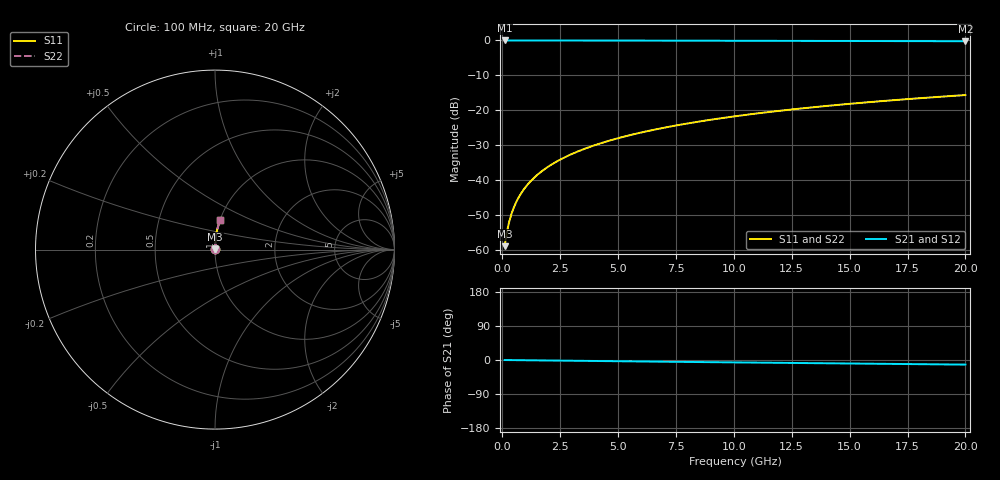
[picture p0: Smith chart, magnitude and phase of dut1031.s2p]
! Touchstone file exported from HFSS 2024.1.0
!  File:  C:/UserFiles/LocalFiles/RDL_TSV_Batchsim/temp_RDL_bottom_1031_1780051146.aedt
!  Generated:  06:41:47 PM May 29, 2026
!  Design:  RDL_bottom
!  Project:  temp_RDL_bottom_1031_1780051146
!  Setup:  Setup1
!  Solution:  Sweep
! Variables:
!  dtsv = 10.80580581um
!  hbump = 3um
!  htsv = 50.27um
!  ldown = 108.85um
!  lrdl = 100um
!  p = 40
!  p1 = 58.5um
!  rhole = 1um
!  t = 450um
!  tdown = 3.73um
!  trdl = 3.915915916um
!  wdown = 17.37um
!  wrdl = 20um
# GHz S MA R 50.000000
! Terminal data exported
! Port[1] = RDL1_T1
! Port[2] = RDL1_T2
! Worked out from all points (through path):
!   200 points, 100 MHz to 20 GHz, reference 50 ohm
!   highest |S21| = -0.01 dB at 100 MHz (marker M1); lowest = -0.2 dB at 20 GHz (marker M2)
!   group delay of S21, straight-line fit = 1.68 ps
!   lowest |S11| = -58.9 dB at 100 MHz (marker M3), VSWR 1.00, Z = 50.1 + j0.0815 ohm
!   |S11| at or under -10 dB: start of sweep to end of sweep
!   |S22| runs from -58.9 to -15.6 dB; largest |S21 - S12| = 3.2e-15
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0.1  0.001131 46.0  0.9992 -0.1  0.9992 -0.1  0.001131 46.0
! Gamma 0 0 0 0
! Port Impedance 50 0 50 0
0.2  0.001806 63.5  0.9992 -0.1  0.9992 -0.1  0.001806 63.5
0.3  0.002546 71.0  0.9992 -0.2  0.9992 -0.2  0.002546 71.0
0.4  0.003301 75.1  0.9991 -0.3  0.9991 -0.3  0.003301 75.1
0.5  0.004061 77.7  0.9991 -0.3  0.9991 -0.3  0.004061 77.7
0.7  0.005589 80.8  0.999 -0.5  0.999 -0.5  0.005589 80.8
0.8  0.006357 81.9  0.999 -0.5  0.999 -0.5  0.006357 81.9
1  0.007899 83.4  0.9989 -0.7  0.9989 -0.7  0.007899 83.4
1.2  0.009448 84.4  0.9988 -0.8  0.9988 -0.8  0.009448 84.4
1.4  0.011 85.2  0.9988 -0.9  0.9988 -0.9  0.011 85.2
1.7  0.01334 86.0  0.9986 -1.1  0.9986 -1.1  0.01334 86.0
2  0.0157 86.6  0.9984 -1.3  0.9984 -1.3  0.0157 86.6
2.7  0.02122 87.3  0.9979 -1.8  0.9979 -1.8  0.02122 87.3
3.5  0.02761 87.8  0.9972 -2.3  0.9972 -2.3  0.02761 87.8
4.2  0.03326 87.9  0.9965 -2.8  0.9965 -2.8  0.03326 87.9
5  0.03978 87.9  0.9956 -3.3  0.9956 -3.3  0.03978 87.9
6.8  0.05466 87.5  0.9934 -4.4  0.9934 -4.4  0.05466 87.5
8.3  0.06723 86.8  0.9915 -5.3  0.9915 -5.3  0.06723 86.8
10.1  0.08241 85.9  0.989 -6.4  0.989 -6.4  0.08241 85.9
13.4  0.1102 83.9  0.9845 -8.3  0.9845 -8.3  0.1102 83.9
16.7  0.1378 81.9  0.9796 -10.3  0.9796 -10.3  0.1378 81.9
20  0.165 79.8  0.9744 -12.2  0.9744 -12.2  0.165 79.8
